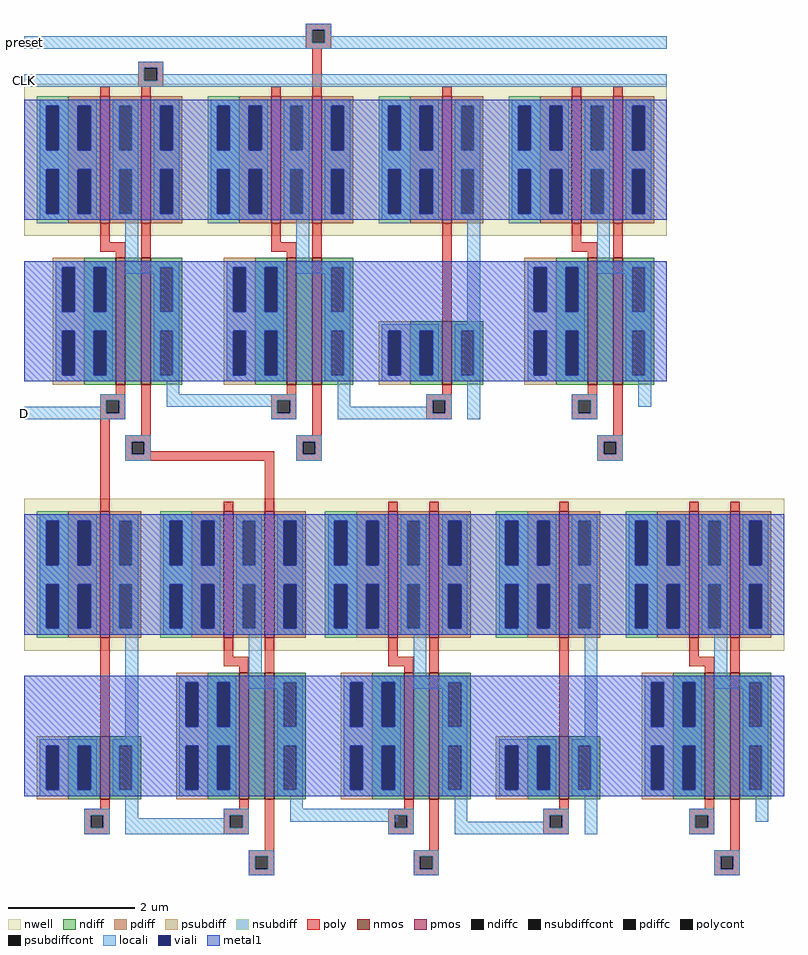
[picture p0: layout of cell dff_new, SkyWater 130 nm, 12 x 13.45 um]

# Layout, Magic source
magic
tech sky130A
<< poly >>
rect 480 1300 520 1310
rect 480 1280 490 1300
rect 510 1280 520 1300
rect 480 1270 520 1280
rect 215 1240 255 1250
rect 215 1220 225 1240
rect 245 1220 255 1240
rect 215 1210 255 1220
rect 490 1210 505 1270
rect 220 1205 235 1210
rect 155 555 170 685
rect 235 620 430 635
rect 415 555 430 620
<< polycont >>
rect 490 1280 510 1300
rect 225 1220 245 1240
<< locali >>
rect 480 1300 520 1310
rect 480 1290 490 1300
rect 35 1280 490 1290
rect 510 1290 520 1300
rect 510 1280 1050 1290
rect 35 1270 1050 1280
rect 215 1240 255 1250
rect 215 1230 225 1240
rect 35 1220 225 1230
rect 245 1230 255 1240
rect 245 1220 1050 1230
rect 35 1210 1050 1220
rect 280 705 430 725
rect 35 685 160 705
rect 215 30 350 55
rect 475 50 625 70
use nand2  nand2_3
transform 1 0 900 0 1 680
box -120 -60 150 535
use nand2  nand2_2
transform 1 0 155 0 1 680
box -120 -60 150 535
use and2  and2_1
transform 1 0 575 0 1 725
box -270 -105 205 490
use nand2  nand2_1
transform 1 0 1085 0 1 25
box -120 -60 150 535
use and2  and2_0
transform 1 0 760 0 1 70
box -270 -105 205 490
use nand2  nand2_0
transform 1 0 350 0 1 25
box -120 -60 150 535
use inverter  inverter_0
transform 1 0 155 0 1 -50
box -120 80 85 610
<< labels >>
rlabel locali 35 695 35 695 7 D
rlabel locali 35 1220 35 1220 7 CLK
rlabel locali 35 1280 35 1280 7 preset
<< end >>

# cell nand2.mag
magic
tech sky130A
<< nwell >>
rect -120 295 150 535
<< nmos >>
rect 25 60 40 260
rect 65 60 80 260
<< pmos >>
rect 0 315 15 515
rect 65 315 80 515
<< ndiff >>
rect -25 245 25 260
rect -25 175 -10 245
rect 10 175 25 245
rect -25 145 25 175
rect -25 75 -10 145
rect 10 75 25 145
rect -25 60 25 75
rect 40 60 65 260
rect 80 245 130 260
rect 80 175 95 245
rect 115 175 130 245
rect 80 145 130 175
rect 80 75 95 145
rect 115 75 130 145
rect 80 60 130 75
<< pdiff >>
rect -50 500 0 515
rect -50 430 -35 500
rect -15 430 0 500
rect -50 400 0 430
rect -50 330 -35 400
rect -15 330 0 400
rect -50 315 0 330
rect 15 500 65 515
rect 15 430 30 500
rect 50 430 65 500
rect 15 400 65 430
rect 15 330 30 400
rect 50 330 65 400
rect 15 315 65 330
rect 80 500 130 515
rect 80 430 95 500
rect 115 430 130 500
rect 80 400 130 430
rect 80 330 95 400
rect 115 330 130 400
rect 80 315 130 330
<< ndiffc >>
rect -10 175 10 245
rect -10 75 10 145
rect 95 175 115 245
rect 95 75 115 145
<< pdiffc >>
rect -35 430 -15 500
rect -35 330 -15 400
rect 30 430 50 500
rect 30 330 50 400
rect 95 430 115 500
rect 95 330 115 400
<< psubdiff >>
rect -75 245 -25 260
rect -75 175 -60 245
rect -40 175 -25 245
rect -75 145 -25 175
rect -75 75 -60 145
rect -40 75 -25 145
rect -75 60 -25 75
<< nsubdiff >>
rect -100 500 -50 515
rect -100 430 -85 500
rect -65 430 -50 500
rect -100 400 -50 430
rect -100 330 -85 400
rect -65 330 -50 400
rect -100 315 -50 330
<< psubdiffcont >>
rect -60 175 -40 245
rect -60 75 -40 145
<< nsubdiffcont >>
rect -85 430 -65 500
rect -85 330 -65 400
<< poly >>
rect 0 515 15 530
rect 65 515 80 530
rect 0 285 15 315
rect 0 270 40 285
rect 25 260 40 270
rect 65 260 80 315
rect 25 45 40 60
rect 0 35 40 45
rect 0 15 10 35
rect 30 15 40 35
rect 0 5 40 15
rect 65 -20 80 60
rect 40 -30 80 -20
rect 40 -50 50 -30
rect 70 -50 80 -30
rect 40 -60 80 -50
<< polycont >>
rect 10 15 30 35
rect 50 -50 70 -30
<< locali >>
rect -95 500 -5 510
rect -95 430 -85 500
rect -65 430 -35 500
rect -15 430 -5 500
rect -95 400 -5 430
rect -95 330 -85 400
rect -65 330 -35 400
rect -15 330 -5 400
rect -95 320 -5 330
rect 20 500 60 510
rect 20 430 30 500
rect 50 430 60 500
rect 20 400 60 430
rect 20 330 30 400
rect 50 330 60 400
rect 20 320 60 330
rect 85 500 125 510
rect 85 430 95 500
rect 115 430 125 500
rect 85 400 125 430
rect 85 330 95 400
rect 115 330 125 400
rect 85 320 125 330
rect 40 255 60 320
rect -70 245 20 255
rect -70 175 -60 245
rect -40 175 -10 245
rect 10 175 20 245
rect 40 245 125 255
rect 40 235 95 245
rect -70 145 20 175
rect -70 75 -60 145
rect -40 75 -10 145
rect 10 75 20 145
rect -70 65 20 75
rect 85 175 95 235
rect 115 175 125 245
rect 85 145 125 175
rect 85 75 95 145
rect 115 75 125 145
rect 85 65 125 75
rect 0 35 40 45
rect 0 15 10 35
rect 30 15 40 35
rect 105 25 125 65
rect 0 5 40 15
rect 40 -30 80 -20
rect 40 -50 50 -30
rect 70 -50 80 -30
rect 40 -60 80 -50
<< viali >>
rect -85 430 -65 500
rect -35 430 -15 500
rect -85 330 -65 400
rect -35 330 -15 400
rect 95 430 115 500
rect 95 330 115 400
rect -60 175 -40 245
rect -10 175 10 245
rect -60 75 -40 145
rect -10 75 10 145
<< metal1 >>
rect -120 500 150 510
rect -120 430 -85 500
rect -65 430 -35 500
rect -15 430 95 500
rect 115 430 150 500
rect -120 400 150 430
rect -120 330 -85 400
rect -65 330 -35 400
rect -15 330 95 400
rect 115 330 150 400
rect -120 320 150 330
rect -120 245 150 255
rect -120 175 -60 245
rect -40 175 -10 245
rect 10 175 150 245
rect -120 145 150 175
rect -120 75 -60 145
rect -40 75 -10 145
rect 10 75 150 145
rect -120 65 150 75
<< labels >>
rlabel metal1 -120 160 -120 160 7 VN
port 5 w
rlabel metal1 -120 415 -120 415 7 VP
port 4 w
rlabel locali 0 35 0 35 7 A
port 1 w
rlabel locali 125 35 125 35 3 Y
port 3 e
rlabel locali 40 -30 40 -30 7 B
port 2 w
<< end >>

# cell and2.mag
magic
tech sky130A
<< locali >>
rect -45 -40 95 -20
use nand2  nand2_0
transform 1 0 -150 0 1 -45
box -120 -60 150 535
use inverter  inverter_0
transform 1 0 120 0 1 -120
box -120 80 85 610
<< end >>

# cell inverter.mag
magic
tech sky130A
<< nwell >>
rect -120 370 85 610
<< nmos >>
rect 0 135 15 235
<< pmos >>
rect 0 390 15 590
<< ndiff >>
rect -50 220 0 235
rect -50 150 -35 220
rect -15 150 0 220
rect -50 135 0 150
rect 15 220 65 235
rect 15 150 30 220
rect 50 150 65 220
rect 15 135 65 150
<< pdiff >>
rect -50 575 0 590
rect -50 505 -35 575
rect -15 505 0 575
rect -50 475 0 505
rect -50 405 -35 475
rect -15 405 0 475
rect -50 390 0 405
rect 15 575 65 590
rect 15 505 30 575
rect 50 505 65 575
rect 15 475 65 505
rect 15 405 30 475
rect 50 405 65 475
rect 15 390 65 405
<< ndiffc >>
rect -35 150 -15 220
rect 30 150 50 220
<< pdiffc >>
rect -35 505 -15 575
rect -35 405 -15 475
rect 30 505 50 575
rect 30 405 50 475
<< psubdiff >>
rect -100 220 -50 235
rect -100 150 -85 220
rect -65 150 -50 220
rect -100 135 -50 150
<< nsubdiff >>
rect -100 575 -50 590
rect -100 505 -85 575
rect -65 505 -50 575
rect -100 475 -50 505
rect -100 405 -85 475
rect -65 405 -50 475
rect -100 390 -50 405
<< psubdiffcont >>
rect -85 150 -65 220
<< nsubdiffcont >>
rect -85 505 -65 575
rect -85 405 -65 475
<< poly >>
rect 0 590 15 605
rect 0 235 15 390
rect 0 120 15 135
rect -25 110 15 120
rect -25 90 -15 110
rect 5 90 15 110
rect -25 80 15 90
<< polycont >>
rect -15 90 5 110
<< locali >>
rect -95 575 -5 585
rect -95 505 -85 575
rect -65 505 -35 575
rect -15 505 -5 575
rect -95 475 -5 505
rect -95 405 -85 475
rect -65 405 -35 475
rect -15 405 -5 475
rect -95 395 -5 405
rect 20 575 60 585
rect 20 505 30 575
rect 50 505 60 575
rect 20 475 60 505
rect 20 405 30 475
rect 50 405 60 475
rect 20 395 60 405
rect 40 230 60 395
rect -95 220 -5 230
rect -95 150 -85 220
rect -65 150 -35 220
rect -15 150 -5 220
rect -95 140 -5 150
rect 20 220 60 230
rect 20 150 30 220
rect 50 150 60 220
rect 20 140 60 150
rect -25 110 15 120
rect -25 90 -15 110
rect 5 90 15 110
rect -25 80 15 90
rect 40 80 60 140
<< viali >>
rect -85 505 -65 575
rect -35 505 -15 575
rect -85 405 -65 475
rect -35 405 -15 475
rect -85 150 -65 220
rect -35 150 -15 220
<< metal1 >>
rect -120 575 85 585
rect -120 505 -85 575
rect -65 505 -35 575
rect -15 505 85 575
rect -120 475 85 505
rect -120 405 -85 475
rect -65 405 -35 475
rect -15 405 85 475
rect -120 395 85 405
rect -120 220 85 330
rect -120 150 -85 220
rect -65 150 -35 220
rect -15 150 85 220
rect -120 140 85 150
<< labels >>
rlabel metal1 -120 235 -120 235 7 VN
port 4 w
rlabel locali -25 100 -25 100 7 A
port 1 w
rlabel locali 60 90 60 90 3 Y
port 2 e
rlabel metal1 -120 490 -120 490 7 VP
port 3 w
<< end >>
